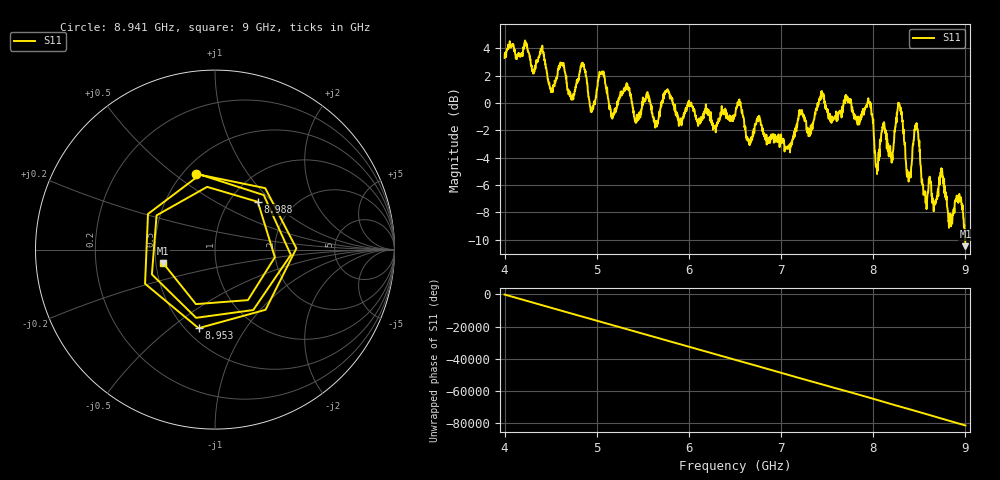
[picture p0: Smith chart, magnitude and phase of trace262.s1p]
! Created with skrf 1.8.0 (http://scikit-rf.org).
# Hz S RI R 50.0
!freq ReS11 ImS11
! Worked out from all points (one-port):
!   1601 points, 4 GHz to 9 GHz, reference 50 ohm
!   lowest |S11| = -10.5 dB at 9 GHz (marker M1), VSWR 1.85, Z = 27.3 - j4.46 ohm
!   |S11| at or under -10 dB: 8.997713 GHz to end of sweep
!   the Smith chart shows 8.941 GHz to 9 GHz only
!   S11 on the Smith chart (normalised r, x): 8.941 GHz: 0.58, +0.60; 8.953 GHz: 0.58, -0.63; 8.988 GHz: 1.34, +0.82; 9 GHz: 0.55, -0.09
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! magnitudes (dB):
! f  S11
! 4 GHz  3.3
! 4.403 GHz  4.0
! 4.512 GHz  0.8
! 4.625 GHz  2.9
! 4.728 GHz  0.4
! 4.847 GHz  2.9
! 4.941 GHz  -0.7
! 5.05 GHz  2.2
! 5.162 GHz  -0.8
! 5.25 GHz  0.5
! 5.766 GHz  1.0
! 5.875 GHz  -0.8
! 6.5 GHz  -1.0
! 7.125 GHz  -2.7
! 7.441 GHz  0.8
! 7.75 GHz  0.0
! 7.962 GHz  0.0
! 8.044 GHz  -4.5
! 8.112 GHz  -1.9
! 8.194 GHz  -4.0
! 8.288 GHz  -0.2
! 8.375 GHz  -5.4
! 8.469 GHz  -1.8
! 8.562 GHz  -6.5
! 8.941 GHz  -7.2
! 8.953 GHz  -7.0
! 8.988 GHz  -8.9
! 9 GHz  -10.5
